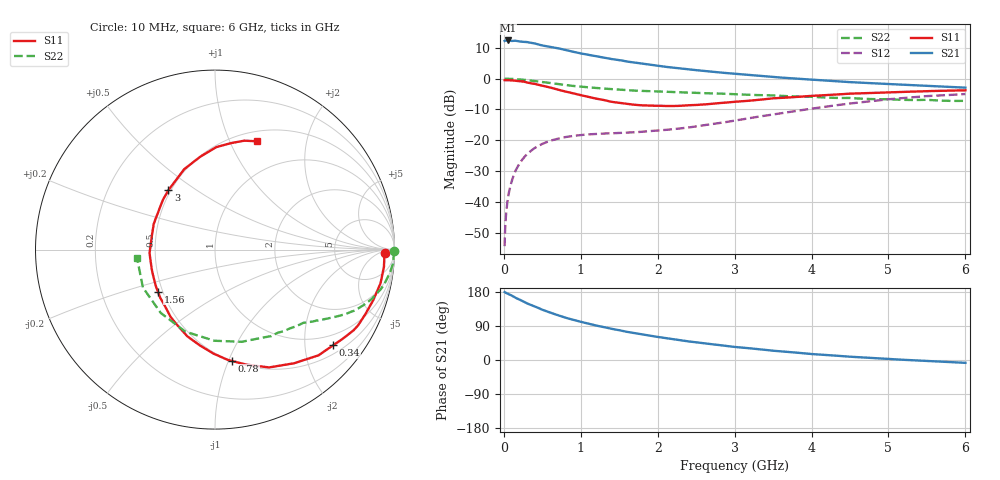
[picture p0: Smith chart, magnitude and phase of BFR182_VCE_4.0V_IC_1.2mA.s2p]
! Infineon Technologies  Discrete & RF Semiconductors
! BFR182
! VCE =  4.0 V,  IC =  1.2 mA
! Common Emitter S-Parameters:  Nov 2015
# GHz  S  MA  R  50
!  f  S11  S21  S12  S22
! GHz  MAG  ANG  MAG  ANG  MAG  ANG  MAG  ANG
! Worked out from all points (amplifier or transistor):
!   210 points, 10 MHz to 6 GHz, reference 50 ohm
!   highest |S21| = 12.4 dB at 50 MHz (marker M1)
!   |S21| within 3 dB of that: start of sweep to 785.3 MHz
!   unconditionally stable (mu >= 1): 1.688 GHz to 3.227 GHz
!   at 185 MHz: K = 0.13, MSG = 20.3 dB, |S12| = -28.3 dB
!   at 1.52 GHz: K = 0.91, MSG = 11.8 dB, |S12| = -17.6 dB
!   at 6 GHz: K = 0.93, MSG = 1.0 dB, |S12| = -5.0 dB
!   S11 on the Smith chart (normalised r, x): 10 MHz: 32, -12; 340 MHz: 0.70, -2.66; 780 MHz: 0.50, -1.03; 1.56 GHz: 0.47, -0.26; 3 GHz: 0.49, +0.39; 6 GHz: 0.61, +1.27
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0.01  0.9474 -1.2  4.097 179.3  0.0019 89.1  0.9983 -0.5
0.015  0.9459 -1.8  4.125 178.6  0.0031 85.6  0.9981 -0.7
0.025  0.9445 -3.0  4.156 177.4  0.0054 85.1  0.9975 -1.2
0.05  0.9461 -5.8  4.178 175.0  0.0108 87.1  0.996 -2.4
0.095  0.9412 -10.9  4.107 170.8  0.0201 83.1  0.9939 -4.5
0.155  0.9238 -18.2  4.129 163.9  0.0325 78.5  0.9827 -7.5
0.3  0.8685 -34.8  3.937 149.6  0.0593 69.6  0.9474 -13.7
0.34  0.8473 -39.0  3.849 146.4  0.0653 66.8  0.9342 -15.2
0.4  0.8244 -45.6  3.741 141.4  0.0746 63.4  0.9157 -17.5
0.5  0.7713 -55.2  3.463 132.7  0.0872 58.6  0.8827 -20.6
0.6  0.7225 -65.3  3.302 125.3  0.0981 54.5  0.8507 -23.4
0.78  0.6273 -81.4  2.968 113.1  0.1111 48.2  0.7942 -27.4
1.02  0.5324 -100.7  2.546 99.8  0.1219 43.3  0.7381 -31.3
1.2  0.4739 -115.7  2.308 90.9  0.1266 41.2  0.7062 -33.8
1.56  0.3954 -143.7  1.941 76.1  0.1323 41.4  0.6569 -38.0
2.02  0.3637 -178.3  1.604 60.3  0.144 45.8  0.6201 -43.8
2.4  0.3703 157.1  1.415 49.1  0.1606 51.2  0.5958 -49.6
3  0.4207 128.1  1.205 34.5  0.2078 56.1  0.5595 -60.9
3.1  0.4292 124.3  1.174 32.7  0.2186 56.1  0.5524 -63.4
4.1  0.5333 96.7  0.947 14.5  0.3394 51.7  0.4989 -94.1
5.1  0.6045 80.2  0.808 1.5  0.4733 38.2  0.4573 -134.8
6  0.6471 68.8  0.715 -7.5  0.563 22.5  0.4368 -174.0
